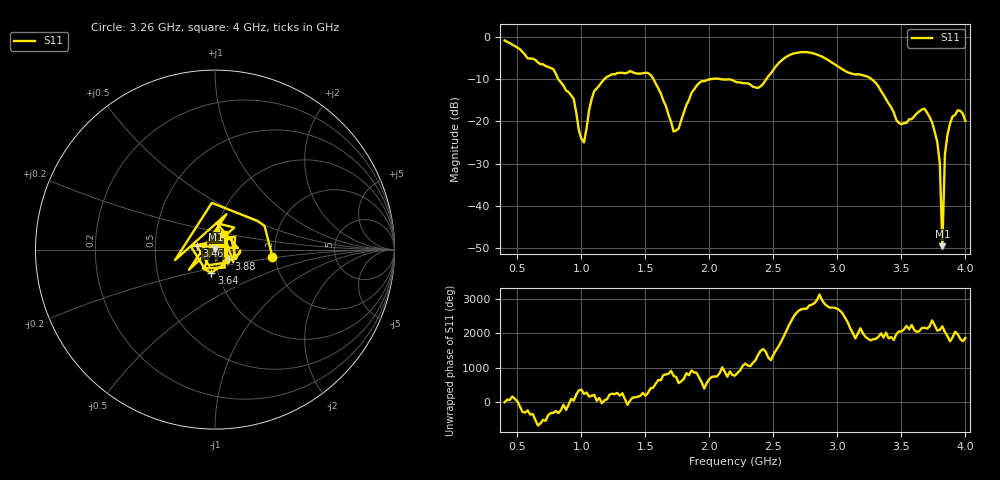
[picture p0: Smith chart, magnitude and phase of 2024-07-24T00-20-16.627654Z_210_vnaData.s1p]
!Created with skrf (http://scikit-rf.org).
# Hz S RI R 50.0
!freq ReS11 ImS11
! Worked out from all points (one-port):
!   181 points, 400 MHz to 4 GHz, reference 50 ohm
!   lowest |S11| = -49.6 dB at 3.82 GHz (marker M1), VSWR 1.01, Z = 50.3 + j0.215 ohm
!   |S11| at or under -10 dB: 819.7 MHz to 1.179 GHz (359 MHz wide, 35.9 % of centre); 1.564 GHz to 2.001 GHz (437.5 MHz wide, 24.5 % of centre); 3.268 GHz to end of sweep (the widest 3 of 4)
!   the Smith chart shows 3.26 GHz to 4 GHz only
!   S11 on the Smith chart (normalised r, x): 3.26 GHz: 1.93, -0.18; 3.46 GHz: 0.81, +0.03; 3.64 GHz: 0.93, -0.24; 3.88 GHz: 1.16, -0.13; 4 GHz: 1.08, +0.20
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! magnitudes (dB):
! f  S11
! 400 MHz  -0.8
! 780 MHz  -7.6
! 860 MHz  -11.5
! 940 MHz  -14.7
! 980 MHz  -22.1
! 1.02 GHz  -25.0
! 1.1 GHz  -12.8
! 1.3 GHz  -8.5
! 1.54 GHz  -9.0
! 1.72 GHz  -22.4
! 1.76 GHz  -21.7
! 1.92 GHz  -10.9
! 2.2 GHz  -10.5
! 2.38 GHz  -12.1
! 2.66 GHz  -3.9
! 3.1 GHz  -8.5
! 3.26 GHz  -9.8
! 3.46 GHz  -19.6
! 3.56 GHz  -19.5
! 3.64 GHz  -17.6
! 3.7 GHz  -17.9
! 3.78 GHz  -24.9
! 3.8 GHz  -29.9
! 3.82 GHz  -49.6
! 3.84 GHz  -27.9
! 3.88 GHz  -20.5
! 3.94 GHz  -17.4
! 4 GHz  -19.9
